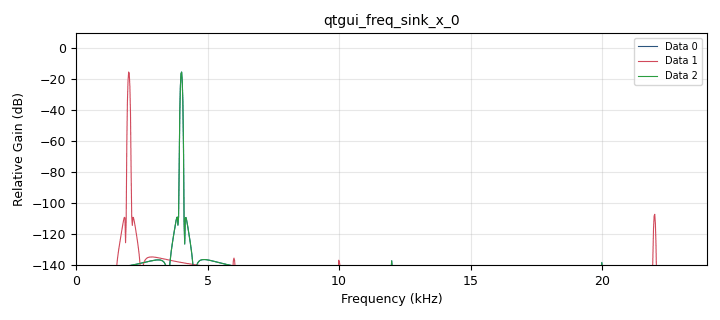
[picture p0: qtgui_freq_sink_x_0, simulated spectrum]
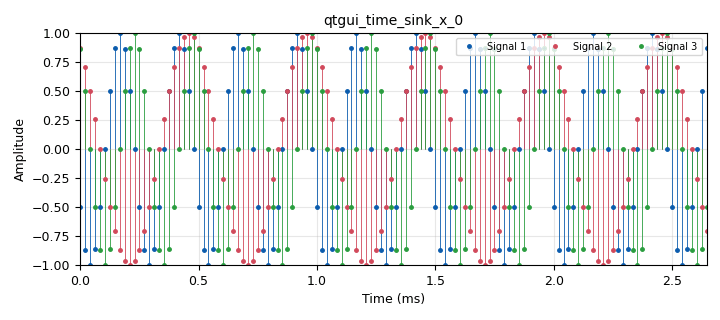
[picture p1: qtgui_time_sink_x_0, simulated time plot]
options:
  parameters:
    author: jesse_blair__diego_cardenas_j1B_G5
    generate_options: qt_gui
    id: lab1_punto2
    output_language: python
    title: lab1_punto2_muestreo
  states: {}

blocks:
- name: freq
  id: variable_qtgui_range
  parameters:
    label: frequency
    start: '1000'
    step: '200'
    stop: '40000'
    value: '4000'
  states: {}
- name: samp_rate
  id: variable
  parameters:
    value: '48000'
  states: {}
- name: analog_sig_source_x_0
  id: analog_sig_source_x
  parameters:
    amp: '1'
    freq: freq
    offset: '0'
    phase: '0'
    samp_rate: '48000'
    type: float
    waveform: analog.GR_COS_WAVE
  states: {}
- name: analog_sig_source_x_0_0
  id: analog_sig_source_x
  parameters:
    amp: '1'
    freq: freq
    offset: '0'
    phase: '0'
    samp_rate: '48000'
    type: float
    waveform: analog.GR_SIN_WAVE
  states: {}
- name: analog_sig_source_x_0_1
  id: analog_sig_source_x
  parameters:
    amp: '1'
    freq: freq
    offset: '0'
    phase: '0'
    samp_rate: '48000'
    type: float
    waveform: analog.GR_SIN_WAVE
  states: {}
- name: blocks_throttle_0
  id: blocks_throttle
  parameters:
    samples_per_second: samp_rate
    type: float
  states: {}
- name: qtgui_freq_sink_x_0
  id: qtgui_freq_sink_x
  parameters:
    bw: samp_rate
    color2: '"green"'
    fc: '0'
    fftsize: '2048'
    freqhalf: 'False'
    nconnections: '3'
    type: float
  states: {}
- name: qtgui_time_sink_x_0
  id: qtgui_time_sink_x
  parameters:
    nconnections: '3'
    size: '128'
    srate: samp_rate
    stemplot: 'True'
    type: float
  states: {}
- name: rational_resampler_xxx_0
  id: rational_resampler_xxx
  parameters:
    decim: '2'
    interp: '4'
    type: fff
  states: {}
- name: rational_resampler_xxx_1
  id: rational_resampler_xxx
  parameters:
    decim: '6'
    interp: '6'
    type: fff
  states: {}
- name: rational_resampler_xxx_2
  id: rational_resampler_xxx
  parameters:
    decim: '2'
    interp: '2'
    type: fff
  states: {}

connections:
- [analog_sig_source_x_0, '0', rational_resampler_xxx_2, '0']
- [analog_sig_source_x_0_0, '0', rational_resampler_xxx_0, '0']
- [analog_sig_source_x_0_1, '0', rational_resampler_xxx_1, '0']
- [blocks_throttle_0, '0', qtgui_freq_sink_x_0, '0']
- [blocks_throttle_0, '0', qtgui_time_sink_x_0, '0']
- [rational_resampler_xxx_0, '0', qtgui_freq_sink_x_0, '1']
- [rational_resampler_xxx_0, '0', qtgui_time_sink_x_0, '1']
- [rational_resampler_xxx_1, '0', qtgui_freq_sink_x_0, '2']
- [rational_resampler_xxx_1, '0', qtgui_time_sink_x_0, '2']
- [rational_resampler_xxx_2, '0', blocks_throttle_0, '0']

metadata:
  file_format: 1
  grc_version: 3.10.5.1
